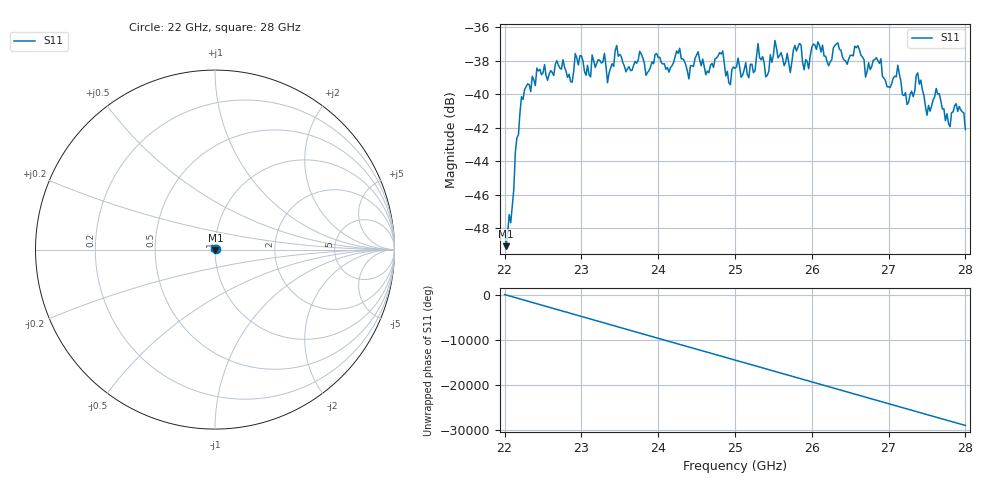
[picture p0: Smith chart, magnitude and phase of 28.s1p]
#  HZ  S  RI  R  50.00
! Rohde & Schwarz ZVA40 4Ports - Version 3.90 - 1145.1110k42 SN: 100403
! Date: 2023-10-04 10:32:42
! Measurement: S12
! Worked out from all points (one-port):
!   301 points, 22 GHz to 28 GHz, reference 50 ohm
!   lowest |S11| = -49.1 dB at 22.02 GHz (marker M1), VSWR 1.01, Z = 50.2 - j0.285 ohm
!   |S11| at or under -10 dB: start of sweep to end of sweep
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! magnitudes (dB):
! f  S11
! 22 GHz  -48.1
! 22.02 GHz  -49.1
! 22.22 GHz  -40.1
! 22.76 GHz  -37.9
! 22.88 GHz  -39.3
! 22.92 GHz  -37.6
! 23.12 GHz  -39.0
! 23.3 GHz  -37.6
! 23.34 GHz  -39.3
! 23.5 GHz  -37.6
! 24.26 GHz  -37.6
! 24.4 GHz  -39.1
! 24.52 GHz  -37.5
! 25 GHz  -38.5
! 25.18 GHz  -39.0
! 25.3 GHz  -37.0
! 25.4 GHz  -39.0
! 25.52 GHz  -36.8
! 25.72 GHz  -38.7
! 25.76 GHz  -37.4
! 26.5 GHz  -37.7
! 27.02 GHz  -39.6
! 27.12 GHz  -38.3
! 27.26 GHz  -40.5
! 27.38 GHz  -38.7
! 27.5 GHz  -41.3
! 27.62 GHz  -39.6
! 28 GHz  -42.1
